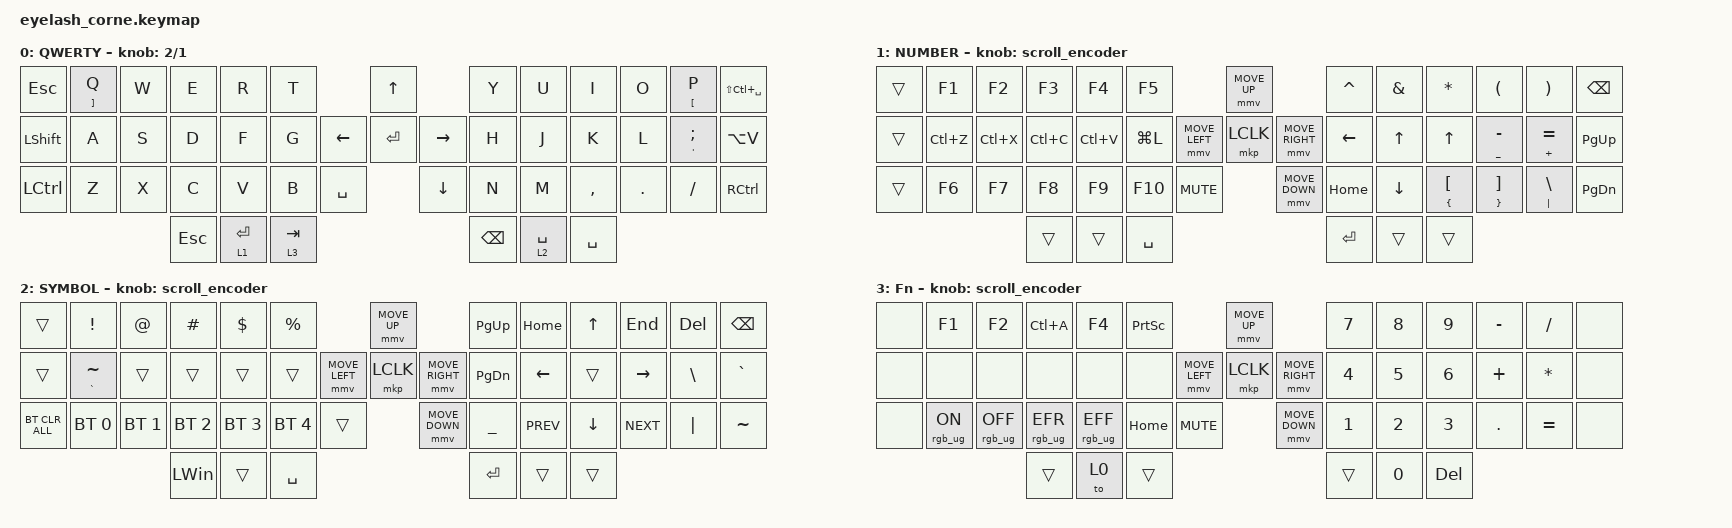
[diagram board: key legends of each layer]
#define ZMK_POINTING_DEFAULT_MOVE_VAL 1200  // 600
#define ZMK_POINTING_DEFAULT_SCRL_VAL 25   // 10

#include <input/processors.dtsi>
#include <zephyr/dt-bindings/input/input-event-codes.h>
#include <behaviors.dtsi>
#include <dt-bindings/zmk/bt.h>
#include <dt-bindings/zmk/keys.h>
#include <dt-bindings/zmk/pointing.h>
#include <dt-bindings/zmk/rgb.h>

&mmv_input_listener { input-processors = <&zip_xy_scaler 2 1>; };

&msc_input_listener { input-processors = <&zip_scroll_scaler 2 1>; };

&msc {
    acceleration-exponent = <1>;      // 0
    time-to-max-speed-ms = <100>;       // 300
    delay-ms = <0>;                   // 0
};

&mmv {
    time-to-max-speed-ms = <500>;
    acceleration-exponent = <1>;
    trigger-period-ms = <16>;
};

/ {
    behaviors {
        td0: td0 {
            compatible = "zmk,behavior-tap-dance";
            display-name = "Shift/Caps Lock Tap Dance";
            #binding-cells = <0>;
            bindings = <&kp LEFT_SHIFT>, <&kp CAPS>;
        };

        hmr: hmr {
            compatible = "zmk,behavior-hold-tap";
            label = "HMR";
            bindings = <&kp>, <&kp>;

            #binding-cells = <2>;
            tapping-term-ms = <280>;
            quick-tap-ms = <175>;
            require-prior-idle-ms = <150>;
            flavor = "balanced";
            hold-trigger-key-positions = <0 1 2 3 4 5 13 14 15 16 17 18 28 29 30 31 32 33 34 42 43 44 45 46 47>;
            hold-trigger-on-release;
        };

        hml: hml {
            compatible = "zmk,behavior-hold-tap";
            label = "HML";
            bindings = <&kp>, <&kp>;

            #binding-cells = <2>;
            tapping-term-ms = <280>;
            quick-tap-ms = <175>;
            require-prior-idle-ms = <150>;
            flavor = "balanced";
            hold-trigger-key-positions = <7 8 9 10 11 12 22 23 24 25 26 27 36 37 38 39 40 41 46 47 45 44 43 42>;
            hold-trigger-on-release;
        };
    };

    rgb_encoder: rgb_encoder {
        compatible = "zmk,behavior-sensor-rotate";
        #sensor-binding-cells = <0>;
        bindings = <&rgb_ug RGB_BRI>, <&rgb_ug RGB_BRD>;
    };

    scroll_encoder: scroll_encoder {
        compatible = "zmk,behavior-sensor-rotate";
        #sensor-binding-cells = <0>;
        bindings = <&msc SCRL_DOWN>, <&msc SCRL_UP>;

        tap-ms = <100>;
    };

    combos {
        compatible = "zmk,combos";

        Delete {
            bindings = <&kp DELETE>;
            key-positions = <8 9>;
        };

        Caps {
            bindings = <&kp CLCK>;
            key-positions = <3 4>;
        };

        Esc {
            bindings = <&kp ESCAPE>;
            key-positions = <2 1>;
        };

        LeftCtrl {
            bindings = <&kp LCTRL>;
            key-positions = <15 16>;
        };

        LeftShift {
            bindings = <&kp LEFT_SHIFT>;
            key-positions = <17 16>;
        };

        LeftAlt {
            bindings = <&kp LEFT_ALT>;
            key-positions = <15 14>;
        };

        RightShift {
            bindings = <&kp RIGHT_SHIFT>;
            key-positions = <23 24>;
        };

        RightCtrl {
            bindings = <&kp RCTRL>;
            key-positions = <24 25>;
        };

        RightAlt {
            bindings = <&kp RIGHT_ALT>;
            key-positions = <25 26>;
        };

        CtrlAltDel {
            bindings = <&kp LA(LC(DELETE))>;
            key-positions = <14 15 16 17>;
        };

        lwin {
            bindings = <&kp LEFT_WIN>;
            key-positions = <29 30>;
        };
    };

    keymap {
        compatible = "zmk,keymap";

        default_layer {
            display-name = "QWERTY";
            bindings = <
&kp ESCAPE      &hml RIGHT_BRACKET Q  &kp W  &kp E       &kp R        &kp T                             &kp UP                &kp Y          &kp U        &kp I      &kp O    &hmr LEFT_BRACKET P  &kp LS(LC(SPACE))
&kp LEFT_SHIFT  &kp A                 &kp S  &kp D       &kp F        &kp G                   &kp LEFT  &kp ENTER  &kp RIGHT  &kp H          &kp J        &kp K      &kp L    &hmr APOS SEMI  &kp LA(V)
&kp LCTRL       &kp Z                 &kp X  &kp C       &kp V        &kp B      &kp SPACE              &kp DOWN              &kp N          &kp M        &kp COMMA  &kp DOT  &kp FSLH        &kp RIGHT_CONTROL
                                             &kp ESCAPE  &lt 1 ENTER  &lt 3 TAB                                               &kp BACKSPACE  &lt 2 SPACE  &kp SPACE
            >;

            // sensor-bindings = <&inc_dec_kp C_VOLUME_UP C_VOLUME_DOWN>;

            sensor-bindings = <&inc_dec_kp N2 N1>;
        };

        lower_layer {
            display-name = "NUMBER";
            bindings = <
&trans  &kp F1     &kp F2     &kp F3     &kp F4     &kp F5                                   &mmv MOVE_UP                     &kp CARET  &kp AMPERSAND  &kp ASTRK                     &kp LEFT_PARENTHESIS            &kp RIGHT_PARENTHESIS  &kp BSPC
&trans  &kp LC(Z)  &kp LC(X)  &kp LC(C)  &kp LC(V)  &kp LG(L)                &mmv MOVE_LEFT  &mkp LCLK       &mmv MOVE_RIGHT  &kp LEFT   &kp UP_ARROW   &kp UP                        &hmr UNDER MINUS                &hmr PLUS EQUAL        &kp PG_UP
&trans  &kp F6     &kp F7     &kp F8     &kp F9     &kp F10    &kp C_MUTE                    &mmv MOVE_DOWN                   &kp HOME   &kp DOWN       &hmr LEFT_BRACE LEFT_BRACKET  &hmr RIGHT_BRACE RIGHT_BRACKET  &hmr PIPE BACKSLASH    &kp PG_DN
                              &trans     &trans     &kp SPACE                                                                 &kp ENTER  &trans         &trans
            >;

            sensor-bindings = <&scroll_encoder>;
        };

        raise_layer {
            display-name = "SYMBOL";
            bindings = <
&trans          &kp EXCL          &kp AT        &kp HASH      &kp DLLR      &kp PRCNT                               &mmv MOVE_UP                     &kp PAGE_UP    &kp HOME    &kp UP_ARROW    &kp END     &kp DELETE  &kp BSPC
&trans          &hml GRAVE TILDE  &trans        &trans        &trans        &trans                  &mmv MOVE_LEFT  &mkp LCLK       &mmv MOVE_RIGHT  &kp PAGE_DOWN  &kp LEFT    &trans          &kp RIGHT   &kp BSLH    &kp GRAVE
&bt BT_CLR_ALL  &bt BT_SEL 0      &bt BT_SEL 1  &bt BT_SEL 2  &bt BT_SEL 3  &bt BT_SEL 4  &trans                    &mmv MOVE_DOWN                   &kp UNDER      &kp C_PREV  &kp DOWN_ARROW  &kp C_NEXT  &kp PIPE    &kp TILDE
                                                &kp LEFT_WIN  &trans        &kp SPACE                                                                &kp RET        &trans      &trans
            >;

            sensor-bindings = <&scroll_encoder>;
        };

        layer_3 {
            display-name = "Fn";
            bindings = <
&none  &kp F1          &kp F2           &kp LC(A)        &kp F4           &kp PRINTSCREEN                                &mmv MOVE_UP                     &kp N7        &kp N8        &kp N9        &kp MINUS  &kp SLASH  &none
&none  &none           &none            &none            &none            &none                          &mmv MOVE_LEFT  &mkp LCLK       &mmv MOVE_RIGHT  &kp NUMBER_4  &kp N5        &kp NUMBER_6  &kp PLUS   &kp ASTRK  &none
&none  &rgb_ug RGB_ON  &rgb_ug RGB_OFF  &rgb_ug RGB_EFR  &rgb_ug RGB_EFF  &kp HOME         &kp C_MUTE                    &mmv MOVE_DOWN                   &kp NUMBER_1  &kp NUMBER_2  &kp NUMBER_3  &kp DOT    &kp EQUAL  &none
                                        &trans           &to 0            &trans                                                                          &trans        &kp N0        &kp DEL
            >;

            sensor-bindings = <&scroll_encoder>;
        };
    };
};
